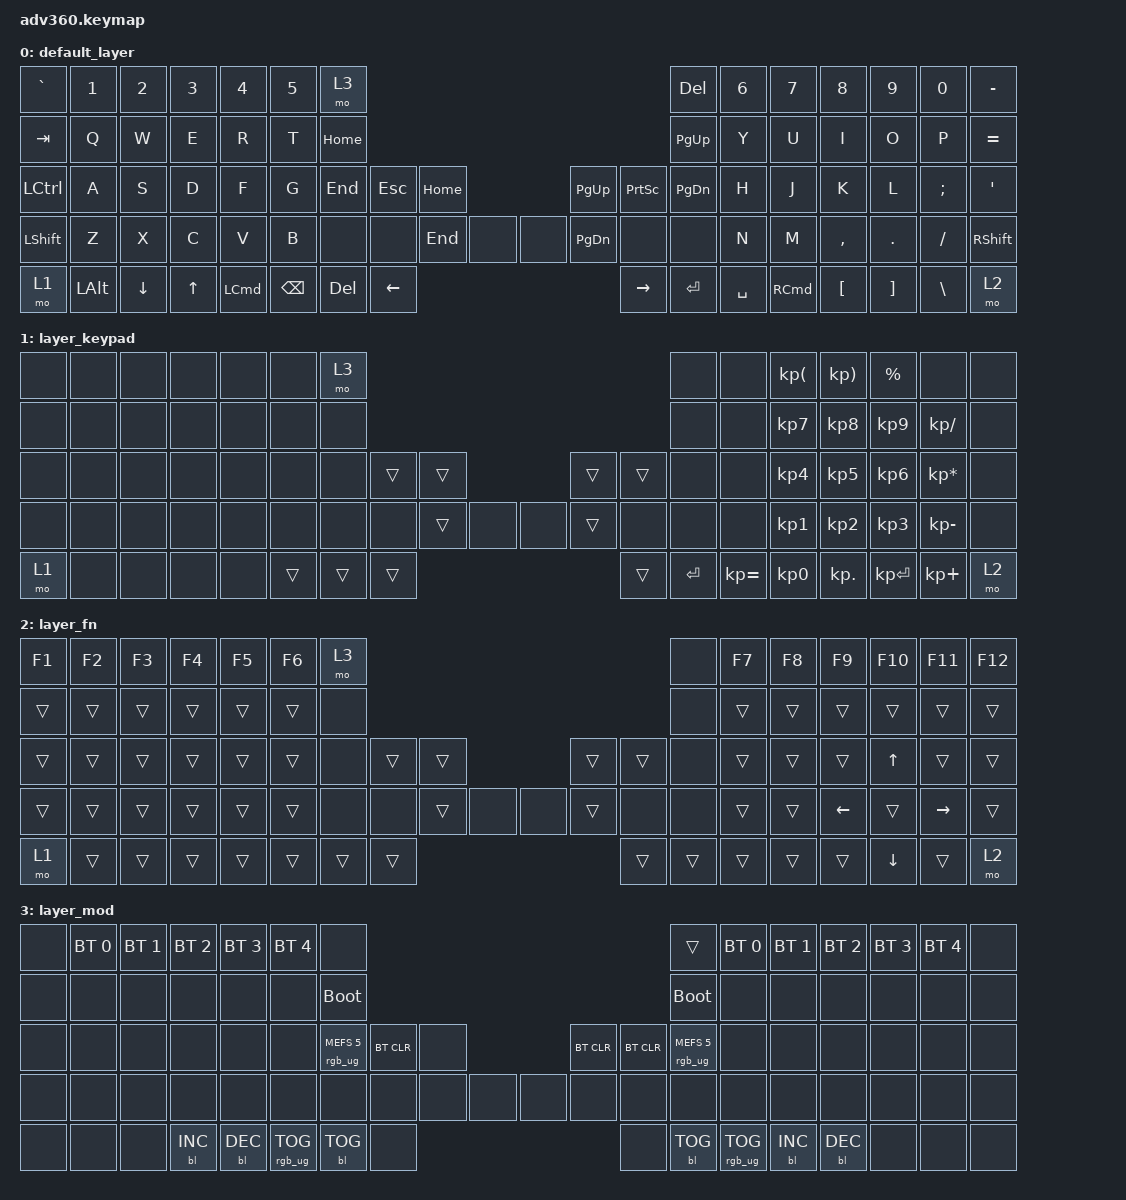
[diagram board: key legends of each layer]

/*
 * Copyright (c) 2020 The ZMK Contributors
 *
 * SPDX-License-Identifier: MIT
 */


/* THIS FILE WAS GENERATED!
 *
 * This file was generated automatically. You may or may not want to
 * edit it directly.
 */

#include <behaviors.dtsi>
#include <dt-bindings/zmk/keys.h>
#include <dt-bindings/zmk/bt.h>
#include <dt-bindings/zmk/rgb.h>
#include <dt-bindings/zmk/backlight.h>

/ {
  behaviors {
    #include "macros.dtsi"
    #include "version.dtsi"

    hm: homerow_mods {
        compatible = "zmk,behavior-hold-tap";
        label = "HOMEROW_MODS";
        #binding-cells = <2>;
        tapping-term-ms = <200>;
        quick_tap_ms = <175>;
        flavor = "tap-preferred";
        bindings = <&kp>, <&kp>;
    };
  };

    keymap {
        compatible = "zmk,keymap";


        default_layer {
            bindings = <
        &kp GRAVE        &kp N1          &kp N2        &kp N3            &kp N4  &kp N5               &mo 3                                                                             &kp DELETE  &kp N6             &kp N7     &kp N8    &kp N9    &kp N0  &kp MINUS
          &kp TAB         &kp Q           &kp W         &kp E             &kp R   &kp T            &kp HOME                                                                              &kp PG_UP   &kp Y              &kp U      &kp I     &kp O     &kp P  &kp EQUAL
 &kp LEFT_CONTROL         &kp A           &kp S         &kp D             &kp F   &kp G             &kp END  &kp ESC        &kp HOME                        &kp PG_UP  &kp PRINTSCREEN   &kp PG_DN   &kp H              &kp J      &kp K     &kp L  &kp SEMI    &kp SQT
        &kp LSHFT         &kp Z           &kp X         &kp C             &kp V   &kp B               &none    &none         &kp END   &none   &none        &kp PG_DN            &none       &none   &kp N              &kp M  &kp COMMA   &kp DOT  &kp FSLH  &kp RSHFT
            &mo 1  &kp LEFT_ALT  &kp DOWN_ARROW  &kp UP_ARROW  &kp LEFT_COMMAND                    &kp BSPC  &kp DEL  &kp LEFT_ARROW                  &kp RIGHT_ARROW        &kp ENTER   &kp SPACE          &kp RIGHT_COMMAND   &kp LBKT  &kp RBKT  &kp BSLH      &mo 2
            >;
        };

        layer_keypad {
            bindings = <
  &none   &none   &none   &none   &none   &none             &mo 3                                                            &none   &none  &kp KP_LEFT_PARENTHESIS  &kp KP_RIGHT_PARENTHESIS   &kp PERCENT            &none   &none
  &none   &none   &none   &none   &none   &none             &none                                                            &none   &none                &kp KP_N7                 &kp KP_N8     &kp KP_N9     &kp KP_SLASH   &none
  &none   &none   &none   &none   &none   &none             &none  &trans  &trans                  &trans     &trans         &none   &none                &kp KP_N4                 &kp KP_N5     &kp KP_N6  &kp KP_ASTERISK   &none
  &none   &none   &none   &none   &none   &none             &none   &none  &trans   &none   &none  &trans      &none         &none   &none                &kp KP_N1                 &kp KP_N2     &kp KP_N3     &kp KP_MINUS   &none
  &mo 1   &none   &none   &none   &none                    &trans  &trans  &trans                  &trans  &kp ENTER  &kp KP_EQUAL                        &kp KP_N0                &kp KP_DOT  &kp KP_ENTER      &kp KP_PLUS   &mo 2
            >;
        };

        layer_fn {
            bindings = <
 &kp F1  &kp F2  &kp F3  &kp F4  &kp F5  &kp F6             &mo 3                                                   &none  &kp F7  &kp F8          &kp F9         &kp F10          &kp F11  &kp F12
 &trans  &trans  &trans  &trans  &trans  &trans             &none                                                   &none  &trans  &trans          &trans          &trans           &trans   &trans
 &trans  &trans  &trans  &trans  &trans  &trans             &none  &trans  &trans                  &trans  &trans   &none  &trans  &trans          &trans    &kp UP_ARROW           &trans   &trans
 &trans  &trans  &trans  &trans  &trans  &trans             &none   &none  &trans   &none   &none  &trans   &none   &none  &trans  &trans  &kp LEFT_ARROW          &trans  &kp RIGHT_ARROW   &trans
  &mo 1  &trans  &trans  &trans  &trans                    &trans  &trans  &trans                  &trans  &trans  &trans          &trans          &trans  &kp DOWN_ARROW           &trans    &mo 2
            >;
        };

        layer_mod {
            bindings = <
  &none  &bt BT_SEL 0  &bt BT_SEL 1  &bt BT_SEL 2  &bt BT_SEL 3  &bt BT_SEL 4                             &none                                                                              &trans  &bt BT_SEL 0  &bt BT_SEL 1  &bt BT_SEL 2  &bt BT_SEL 3  &bt BT_SEL 4   &none
  &none         &none         &none         &none         &none         &none                       &bootloader                                                                         &bootloader         &none         &none         &none         &none         &none   &none
  &none         &none         &none         &none         &none         &none            &rgb_ug RGB_MEFS_CMD 5  &bt BT_CLR   &none                  &bt BT_CLR  &bt BT_CLR  &rgb_ug RGB_MEFS_CMD 5         &none         &none         &none         &none         &none   &none
  &none         &none         &none         &none         &none         &none                             &none       &none   &none   &none   &none       &none       &none                   &none         &none         &none         &none         &none         &none   &none
  &none         &none         &none    &bl BL_INC    &bl BL_DEC                                 &rgb_ug RGB_TOG  &bl BL_TOG   &none                       &none  &bl BL_TOG         &rgb_ug RGB_TOG                  &bl BL_INC    &bl BL_DEC         &none         &none   &none
            >;
        };

    };
};
